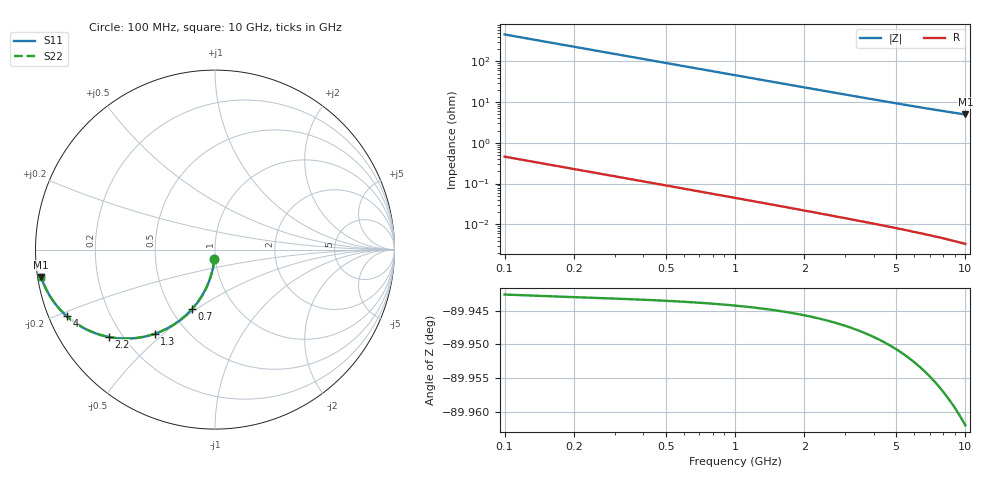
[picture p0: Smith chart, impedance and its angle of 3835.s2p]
# Hz S RI R 50.00
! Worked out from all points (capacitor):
!   100 points, 100 MHz to 10 GHz, reference 50 ohm
!   read as one part in shunt: C = 3.48 pF near 100 MHz
!   lowest |Z| = 4.97 ohm at 10 GHz (marker M1)
!   S11 on the Smith chart (normalised r, x): 100 MHz: 0.99, -0.11; 700 MHz: 0.63, -0.48; 1.3 GHz: 0.33, -0.47; 2.2 GHz: 0.15, -0.35; 4 GHz: 0.05, -0.21; 10 GHz: 0.01, -0.08
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1e8  -0.00297 -0.0543  0.9969 -0.0546  0.9969 -0.0546  -0.00297 -0.0543
2e8  -0.0118 -0.1076  0.988 -0.1083  0.988 -0.1083  -0.0118 -0.1076
3e8  -0.0262 -0.159  0.9736 -0.1601  0.9736 -0.1601  -0.0262 -0.159
4e8  -0.0457 -0.2077  0.9542 -0.2092  0.9542 -0.2092  -0.0457 -0.2077
5e8  -0.0696 -0.2531  0.9303 -0.255  0.9303 -0.255  -0.0696 -0.2531
6e8  -0.0972 -0.2946  0.9027 -0.2969  0.9027 -0.2969  -0.0972 -0.2946
7e8  -0.1277 -0.332  0.8721 -0.3347  0.8721 -0.3347  -0.1277 -0.332
8e8  -0.1605 -0.3651  0.8394 -0.3682  0.8394 -0.3682  -0.1605 -0.3651
1e9  -0.2299 -0.4184  0.7699 -0.4223  0.7699 -0.4223  -0.2299 -0.4184
1.3e9  -0.3353 -0.4691  0.6646 -0.4741  0.6646 -0.4741  -0.3353 -0.4691
1.5e9  -0.4017 -0.4869  0.5982 -0.4926  0.5982 -0.4926  -0.4017 -0.4869
1.8e9  -0.4915 -0.4959  0.5083 -0.5029  0.5083 -0.5029  -0.4915 -0.4959
2.2e9  -0.5908 -0.4869  0.409 -0.4954  0.409 -0.4954  -0.5908 -0.4869
2.5e9  -0.6509 -0.4713  0.3489 -0.481  0.3489 -0.481  -0.6509 -0.4713
2.8e9  -0.7005 -0.452  0.2993 -0.4629  0.2993 -0.4629  -0.7005 -0.452
3.4e9  -0.7754 -0.4101  0.2244 -0.4234  0.2244 -0.4234  -0.7754 -0.4101
4e9  -0.8271 -0.3697  0.1727 -0.3854  0.1727 -0.3854  -0.8271 -0.3697
4.5e9  -0.8584 -0.3392  0.1413 -0.3568  0.1413 -0.3568  -0.8584 -0.3392
5.1e9  -0.8864 -0.3066  0.1133 -0.3267  0.1133 -0.3267  -0.8864 -0.3066
6.7e9  -0.9313 -0.2386  0.0682 -0.2654  0.0682 -0.2654  -0.9313 -0.2386
8.4e9  -0.9556 -0.1876  0.0437 -0.2217  0.0437 -0.2217  -0.9556 -0.1876
1e10  -0.9685 -0.152  0.0305 -0.1933  0.0305 -0.1933  -0.9685 -0.152
